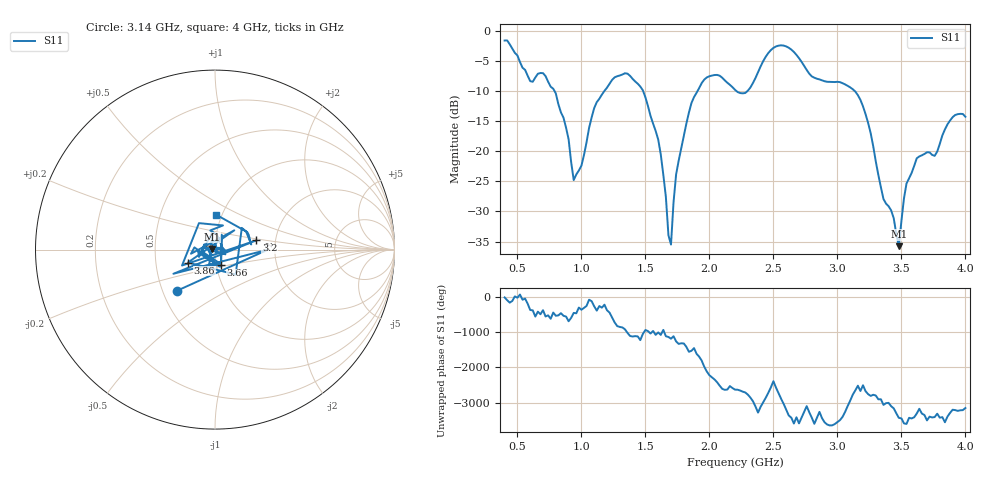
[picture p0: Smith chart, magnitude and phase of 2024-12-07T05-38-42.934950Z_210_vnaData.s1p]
!Created with skrf (http://scikit-rf.org).
# Hz S RI R 50.0
!freq ReS11 ImS11
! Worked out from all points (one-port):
!   181 points, 400 MHz to 4 GHz, reference 50 ohm
!   lowest |S11| = -35.8 dB at 3.48 GHz (marker M1), VSWR 1.03, Z = 48.4 + j0.28 ohm
!   |S11| at or under -10 dB: 790.7 MHz to 1.178 GHz (387.7 MHz wide, 39.4 % of centre); 1.483 GHz to 1.906 GHz (423.9 MHz wide, 25 % of centre); 3.137 GHz to end of sweep (the widest 3 of 4)
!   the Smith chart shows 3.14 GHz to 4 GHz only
!   S11 on the Smith chart (normalised r, x): 3.14 GHz: 0.59, -0.30; 3.2 GHz: 1.59, +0.17; 3.66 GHz: 1.05, -0.18; 3.86 GHz: 0.73, -0.11; 4 GHz: 0.94, +0.38
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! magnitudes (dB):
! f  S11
! 400 MHz  -1.6
! 600 MHz  -8.3
! 720 MHz  -7.5
! 860 MHz  -14.4
! 940 MHz  -24.8
! 1.12 GHz  -11.8
! 1.3 GHz  -7.4
! 1.48 GHz  -9.8
! 1.58 GHz  -16.6
! 1.62 GHz  -20.5
! 1.7 GHz  -35.5
! 1.72 GHz  -28.4
! 1.76 GHz  -21.5
! 1.86 GHz  -11.9
! 1.96 GHz  -8.1
! 2.2 GHz  -9.8
! 2.3 GHz  -9.9
! 2.5 GHz  -2.8
! 2.66 GHz  -3.5
! 3.1 GHz  -9.4
! 3.14 GHz  -10.1
! 3.2 GHz  -12.5
! 3.48 GHz  -35.8
! 3.56 GHz  -24.5
! 3.66 GHz  -20.7
! 3.76 GHz  -20.8
! 3.86 GHz  -15.5
! 4 GHz  -14.2
